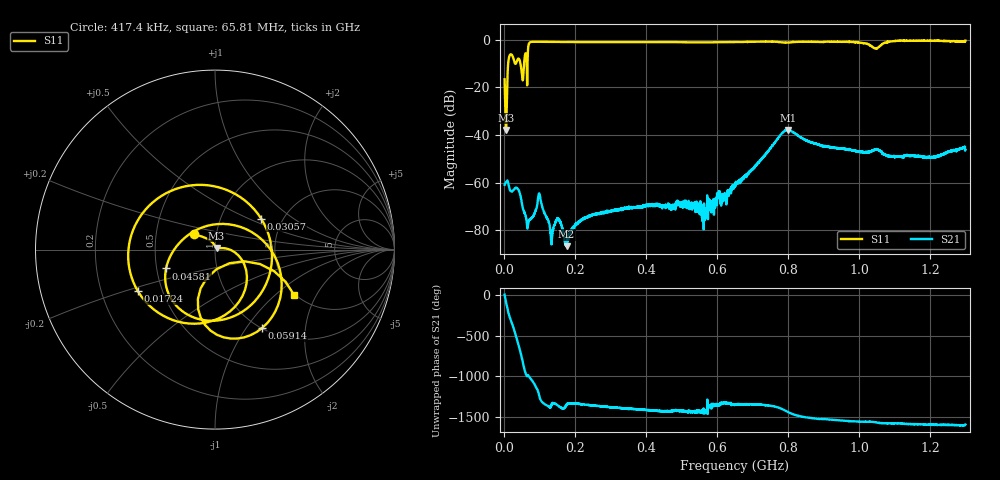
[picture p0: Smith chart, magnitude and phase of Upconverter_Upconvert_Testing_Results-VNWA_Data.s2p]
! ListType=Lin
# MHZ S DB R 50
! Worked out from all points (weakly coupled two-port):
!   4095 points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, 417.4 kHz to 1.3 GHz, reference 50 ohm
!   highest |S21| = -37.97 dB at 800.4 MHz (marker M1); lowest = -86.7 dB at 175 MHz (marker M2)
!   lowest |S11| = -37.9 dB at 4.544 MHz (marker M3), VSWR 1.03, Z = 50.9 + j0.915 ohm
!   |S11| at or under -10 dB: start of sweep to 10.51 MHz; 29.62 MHz to 32.39 MHz (2.77 MHz wide, 8.93 % of centre); 44.96 MHz to 55.38 MHz (10.42 MHz wide, 20.8 % of centre)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
!   S12 and S22 are empty: the file has one direction only
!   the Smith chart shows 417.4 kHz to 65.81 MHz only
!   S11 on the Smith chart (normalised r, x): 417.4 kHz: 0.78, +0.14; 17.24 MHz: 0.36, -0.22; 30.57 MHz: 1.55, +0.59; 45.81 MHz: 0.56, -0.13; 59.14 MHz: 1.01, -1.19; 65.81 MHz: 1.97, -1.33
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0.4174359  -16.70 143.6  -60.94 9.1  -3000.00 -90.0  -3000.00 -90.0
4.544103  -37.95 45.2  -59.90 -82.9  -3000.00 -90.0  -3000.00 -90.0
17.24154  -6.23 -151.8  -63.48 60.6  -3000.00 -90.0  -3000.00 -90.0
24.86  -7.75 127.3  -63.24 -32.8  -3000.00 -90.0  -3000.00 -90.0
30.57385  -10.18 33.9  -62.37 -114.2  -3000.00 -90.0  -3000.00 -90.0
38.50974  -8.06 -88.5  -62.90 124.9  -3000.00 -90.0  -3000.00 -90.0
45.81077  -10.69 -158.9  -66.08 7.4  -3000.00 -90.0  -3000.00 -90.0
59.14308  -5.86 -58.8  -73.77 125.2  -3000.00 -90.0  -3000.00 -90.0
65.80923  -5.93 -29.7  -78.21 96.6  -3000.00 -90.0  -3000.00 -90.0
75.64974  -1.01 -104.2  -75.15 42.1  -3000.00 -90.0  -3000.00 -90.0
99.77487  -0.96 -147.0  -65.32 175.1  -3000.00 -90.0  -3000.00 -90.0
131.5185  -1.01 -173.0  -84.32 72.5  -3000.00 -90.0  -3000.00 -90.0
175.0072  -1.07 163.7  -86.70 93.9  -3000.00 -90.0  -3000.00 -90.0
217.2262  -1.09 145.9  -75.74 97.3  -3000.00 -90.0  -3000.00 -90.0
433.7174  -1.08 73.0  -69.59 15.8  -3000.00 -90.0  -3000.00 -90.0
565.1359  -1.17 24.6  -71.38 1.6  -3000.00 -90.0  -3000.00 -90.0
650.5262  -1.07 -4.8  -61.28 90.8  -3000.00 -90.0  -3000.00 -90.0
800.3559  -1.30 -49.1  -37.97 -0.2  -3000.00 -90.0  -3000.00 -90.0
867.0174  -0.96 -70.0  -43.32 -72.9  -3000.00 -90.0  -3000.00 -90.0
1042.242  -3.55 -125.3  -46.29 -121.6  -3000.00 -90.0  -3000.00 -90.0
1083.509  -0.92 -120.0  -48.93 -136.2  -3000.00 -90.0  -3000.00 -90.0
1300  -0.48 -176.5  -46.28 -152.1  -3000.00 -90.0  -3000.00 -90.0
